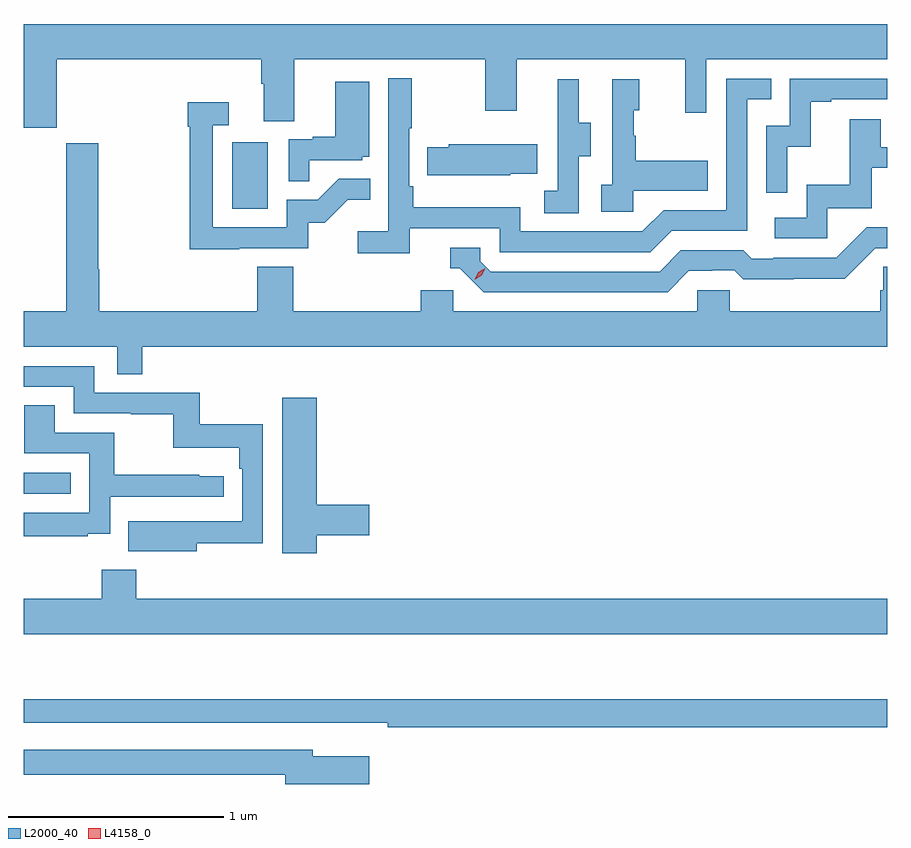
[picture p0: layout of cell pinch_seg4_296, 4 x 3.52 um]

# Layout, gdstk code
import gdstk
lib = gdstk.Library(unit=1e-6, precision=1e-09)
def R(c, l, rs):  # rectangles x0, y0, x1, y1
    for r in rs: c.add(gdstk.rectangle(r[:2], r[2:], *l))
def P(c, l, *ps):  # polygons
    for p in ps: c.add(gdstk.Polygon(p, *l))
L2000_40 = (2000, 40)
L4158_0 = (4158, 0)

pinch_seg4_296 = lib.new_cell('pinch_seg4_296')
R(pinch_seg4_296, L2000_40, [(934.917,798.804,935.135,798.9), (935.882,800.124,936.046,800.431)])
P(pinch_seg4_296, L2000_40, [(935.068,800.816),(936.017,800.816),(936.017,800.704),(936.029,800.704),(936.029,800.53),(936.169,800.53),(936.169,800.816),(937.054,800.816),(937.054,800.577),(937.201,800.577),(937.201,800.816),(937.982,800.816),(937.982,800.568),(938.079,800.568),(938.079,800.816),(938.917,800.816),(938.917,800.98),(934.917,800.98),(934.917,800.499),(935.068,800.499)],
  [(936.704,800.034),(937.122,800.034),(937.122,799.923),(937.819,799.923),(937.918,800.022),(938.268,800.022),(938.268,800.631),(938.381,800.631),(938.381,800.727),(938.172,800.727),(938.172,800.118),(937.881,800.118),(937.782,800.019),(937.218,800.019),(937.218,800.131),(936.722,800.131),(936.722,800.227),(936.702,800.227),(936.702,800.497),(936.715,800.497),(936.715,800.728),(936.606,800.728),(936.606,800.02),(936.465,800.02),(936.465,799.918),(936.704,799.918)],
  [(938.454,800.411),(938.564,800.411),(938.564,800.619),(938.659,800.619),(938.659,800.631),(938.917,800.631),(938.917,800.727),(938.466,800.727),(938.466,800.508),(938.358,800.508),(938.358,800.199),(938.454,800.199)],
  [(937.488,800.368),(937.543,800.368),(937.543,800.523),(937.489,800.523),(937.489,800.725),(937.391,800.725),(937.391,800.511),(937.392,800.511),(937.392,800.207),(937.329,800.207),(937.329,800.104),(937.488,800.104)],
  [(937.74,800.207),(938.087,800.207),(938.087,800.347),(937.753,800.347),(937.753,800.462),(937.743,800.462),(937.743,800.58),(937.768,800.58),(937.768,800.725),(937.644,800.725),(937.644,800.234),(937.593,800.234),(937.593,800.109),(937.74,800.109)],
  [(936.239,800.349),(936.486,800.349),(936.486,800.364),(936.517,800.364),(936.517,800.713),(936.359,800.713),(936.359,800.458),(936.255,800.458),(936.255,800.445),(936.144,800.445),(936.144,800.251),(936.239,800.251)],
  [(935.915,799.941),(936.234,799.941),(936.234,800.058),(936.31,800.058),(936.417,800.165),(936.521,800.165),(936.521,800.264),(936.377,800.264),(936.279,800.166),(936.135,800.166),(936.135,800.037),(935.793,800.037),(935.793,800.511),(935.866,800.511),(935.866,800.617),(935.677,800.617),(935.677,800.504),(935.685,800.504),(935.685,799.936),(935.915,799.936)],
  [(938.64,800.127),(938.845,800.127),(938.845,800.313),(938.917,800.313),(938.917,800.409),(938.887,800.409),(938.887,800.539),(938.743,800.539),(938.743,800.236),(938.544,800.236),(938.544,800.082),(938.397,800.082),(938.397,799.986),(938.64,799.986)],
  [(935.465,799.484),(938.917,799.484),(938.917,799.856),(938.899,799.856),(938.899,799.746),(938.885,799.746),(938.885,799.648),(938.187,799.648),(938.187,799.746),(938.037,799.746),(938.037,799.648),(936.906,799.648),(936.906,799.746),(936.755,799.746),(936.755,799.648),(936.164,799.648),(936.164,799.856),(935.999,799.856),(935.999,799.648),(935.267,799.648),(935.267,799.844),(935.262,799.844),(935.262,800.427),(935.114,800.427),(935.114,799.648),(934.917,799.648),(934.917,799.484),(935.349,799.484),(935.349,799.357),(935.465,799.357)],
  [(937.17,800.285),(937.295,800.285),(937.295,800.422),(936.885,800.422),(936.885,800.409),(936.787,800.409),(936.787,800.279),(937.17,800.279)],
  [(937.999,799.836),(938.106,799.836),(938.106,799.839),(938.209,799.839),(938.251,799.797),(938.484,799.797),(938.484,799.799),(938.72,799.799),(938.862,799.941),(938.917,799.941),(938.917,800.037),(938.823,800.037),(938.682,799.896),(938.389,799.896),(938.389,799.893),(938.29,799.893),(938.251,799.932),(937.962,799.932),(937.863,799.833),(937.08,799.833),(937.032,799.881),(937.032,799.944),(936.893,799.944),(936.893,799.848),(936.936,799.848),(937.047,799.737),(937.9,799.737)],
  [(935.719,798.574),(936.024,798.574),(936.024,799.126),(935.731,799.126),(935.731,799.272),(935.244,799.272),(935.244,799.395),(934.917,799.395),(934.917,799.299),(935.148,799.299),(935.148,799.176),(935.413,799.176),(935.413,799.171),(935.61,799.171),(935.61,799.016),(935.915,799.016),(935.915,798.92),(935.928,798.92),(935.928,798.675),(935.615,798.675),(935.615,798.676),(935.401,798.676),(935.401,798.536),(935.719,798.536)],
  [(936.274,798.61),(936.517,798.61),(936.517,798.752),(936.274,798.752),(936.274,799.249),(936.113,799.249),(936.113,798.528),(936.274,798.528)],
  [(935.213,798.617),(935.316,798.617),(935.316,798.789),(935.842,798.789),(935.842,798.885),(935.729,798.885),(935.729,798.89),(935.336,798.89),(935.336,799.086),(935.059,799.086),(935.059,799.214),(934.919,799.214),(934.919,798.99),(935.22,798.99),(935.22,798.714),(934.917,798.714),(934.917,798.606),(935.213,798.606)],
  [(938.917,798.316),(935.438,798.316),(935.438,798.451),(935.278,798.451),(935.278,798.316),(934.917,798.316),(934.917,798.152),(938.917,798.152)],
  [(938.917,797.851),(934.917,797.851),(934.917,797.742),(936.352,797.742),(936.352,797.741),(936.604,797.741),(936.604,797.722),(938.917,797.722)],
  [(936.517,797.587),(936.256,797.587),(936.256,797.616),(934.917,797.616),(934.917,797.5),(936.128,797.5),(936.128,797.458),(936.517,797.458)])
P(pinch_seg4_296, L4158_0, [(937.007,799.796),(937.007,799.796),(937.023,799.829),(937.054,799.849),(937.054,799.849),(937.054,799.848),(937.038,799.816),(937.008,799.796)])

lib.write_gds('pinch_seg4_296.gds')
